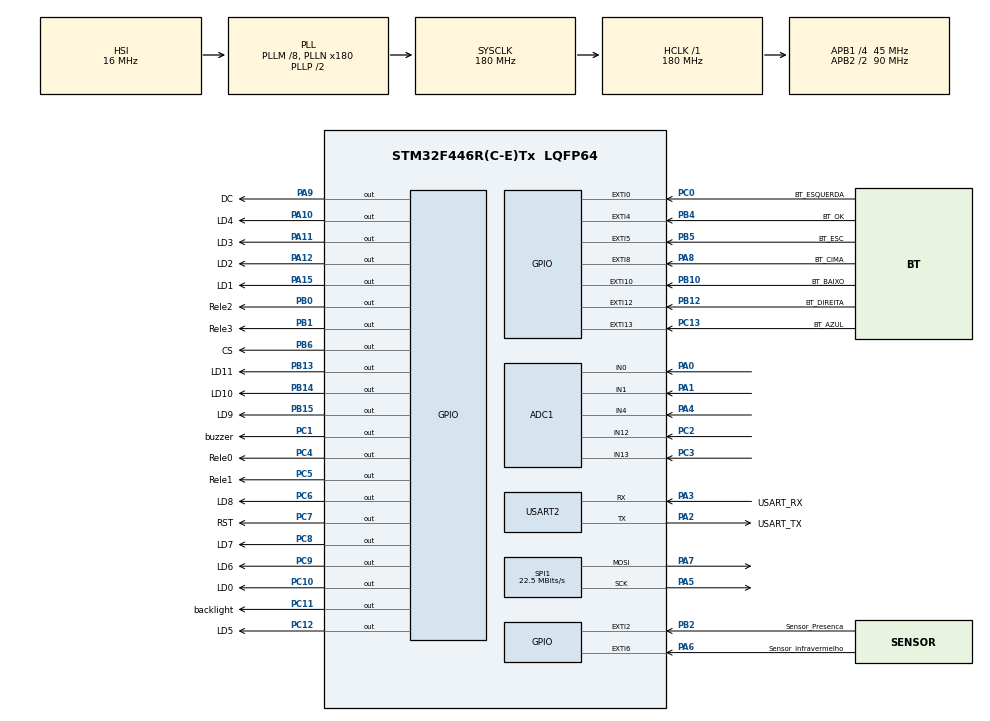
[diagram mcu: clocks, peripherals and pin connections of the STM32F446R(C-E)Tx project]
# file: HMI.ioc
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ADC1.Channel-0\#ChannelRegularConversion=ADC_CHANNEL_0
ADC1.Channel-1\#ChannelRegularConversion=ADC_CHANNEL_1
ADC1.Channel-2\#ChannelRegularConversion=ADC_CHANNEL_4
ADC1.Channel-3\#ChannelRegularConversion=ADC_CHANNEL_12
ADC1.Channel-4\#ChannelRegularConversion=ADC_CHANNEL_13
ADC1.ContinuousConvMode=ENABLE
ADC1.DMAContinuousRequests=ENABLE
ADC1.NbrOfConversion=5
ADC1.NbrOfConversionFlag=1
ADC1.Rank-0\#ChannelRegularConversion=1
ADC1.Rank-1\#ChannelRegularConversion=2
ADC1.Rank-2\#ChannelRegularConversion=3
ADC1.Rank-3\#ChannelRegularConversion=4
ADC1.Rank-4\#ChannelRegularConversion=5
ADC1.SamplingTime-0\#ChannelRegularConversion=ADC_SAMPLETIME_480CYCLES
ADC1.SamplingTime-1\#ChannelRegularConversion=ADC_SAMPLETIME_480CYCLES
ADC1.SamplingTime-2\#ChannelRegularConversion=ADC_SAMPLETIME_480CYCLES
ADC1.SamplingTime-3\#ChannelRegularConversion=ADC_SAMPLETIME_480CYCLES
ADC1.SamplingTime-4\#ChannelRegularConversion=ADC_SAMPLETIME_480CYCLES
ADC1.master=1
Dma.ADC1.1.Direction=DMA_PERIPH_TO_MEMORY
Dma.ADC1.1.FIFOMode=DMA_FIFOMODE_DISABLE
Dma.ADC1.1.Instance=DMA2_Stream0
Dma.ADC1.1.MemDataAlignment=DMA_MDATAALIGN_HALFWORD
Dma.ADC1.1.MemInc=DMA_MINC_ENABLE
Dma.ADC1.1.Mode=DMA_CIRCULAR
Dma.ADC1.1.PeriphDataAlignment=DMA_PDATAALIGN_HALFWORD
Dma.ADC1.1.PeriphInc=DMA_PINC_DISABLE
Dma.ADC1.1.Priority=DMA_PRIORITY_LOW
Dma.Request0=SPI1_TX
Dma.Request1=ADC1
Dma.SPI1_TX.0.Direction=DMA_MEMORY_TO_PERIPH
Dma.SPI1_TX.0.FIFOMode=DMA_FIFOMODE_DISABLE
Dma.SPI1_TX.0.Instance=DMA2_Stream3
Dma.SPI1_TX.0.MemDataAlignment=DMA_MDATAALIGN_BYTE
Dma.SPI1_TX.0.MemInc=DMA_MINC_ENABLE
Dma.SPI1_TX.0.Mode=DMA_NORMAL
Dma.SPI1_TX.0.PeriphDataAlignment=DMA_PDATAALIGN_BYTE
Dma.SPI1_TX.0.PeriphInc=DMA_PINC_DISABLE
Dma.SPI1_TX.0.Priority=DMA_PRIORITY_LOW
FREERTOS.BinarySemaphores01=buttonSemph,Static,buttonSemphControlBlock
FREERTOS.Mutexes01=display_mutex,Static,display_mutexControlBlock;sensor_mutex,Static,sensor_mutexControlBlock
FREERTOS.Queues01=buttons_queue,20,uint8_t,0,Static,queue_buttonsBuffer,queue_buttonsControlBlock;sensors_queue,20,Sensors_Val,0,Static,sensors_queueBuffer,sensors_queueControlBlock
FREERTOS.Tasks01=defaultTask,24,128,StartDefaultTask,Default,NULL,Dynamic,NULL,NULL;Display_TASK_,25,8128,Display_TASK,As weak,NULL,Static,Display_TASK_Buffer,Display_TASK_ControlBlock;Button_TASK_,26,2048,Button_TASK,As weak,NULL,Static,Button_TASK_Buffer,Button_TASK_ControlBlock;sensor_task_,23,512,sensor_task,As weak,NULL,Static,sensor_task_Buffer,sensor_task_ControlBlock;AlarmsTask_,8,512,AlarmsTask,As weak,NULL,Static,AlarmsTask_Buffer,AlarmsTask_ControlBlock
FREERTOS.Timers01=buzzerTimer,buzzerTimer_calbk,osTimerOnce,As weak,NULL,Static,buzzerTimerControlBlock
FREERTOS.configUSE_NEWLIB_REENTRANT=1
Mcu.Family=STM32F4
Mcu.Name=STM32F446R(C-E)Tx
Mcu.Package=LQFP64
NVIC.DMA2_Stream0_IRQn=true\:5\:0\:false\:false\:true\:true\:false\:true\:true
NVIC.DMA2_Stream3_IRQn=true\:5\:0\:false\:false\:true\:true\:false\:true\:true
NVIC.EXTI0_IRQn=true\:5\:0\:false\:false\:true\:true\:true\:true\:true
NVIC.EXTI15_10_IRQn=true\:5\:0\:false\:false\:true\:true\:true\:true\:true
NVIC.EXTI2_IRQn=true\:5\:0\:false\:false\:true\:true\:true\:true\:true
NVIC.EXTI4_IRQn=true\:5\:0\:false\:false\:true\:false\:true\:true\:true
NVIC.EXTI9_5_IRQn=true\:5\:0\:false\:false\:true\:false\:true\:true\:true
NVIC.PriorityGroup=NVIC_PRIORITYGROUP_4
NVIC.TIM1_UP_TIM10_IRQn=true\:15\:0\:false\:false\:true\:false\:false\:true\:true
NVIC.TIM2_IRQn=true\:5\:0\:false\:false\:true\:true\:true\:true\:true
NVIC.TIM3_IRQn=true\:5\:0\:false\:false\:true\:true\:true\:true\:true
NVIC.TIM4_IRQn=true\:5\:0\:false\:false\:true\:true\:true\:true\:true
NVIC.TIM5_IRQn=true\:5\:0\:false\:false\:true\:true\:true\:true\:true
NVIC.TIM8_BRK_TIM12_IRQn=true\:5\:0\:false\:false\:true\:true\:true\:true\:true
NVIC.TIM8_TRG_COM_TIM14_IRQn=true\:5\:0\:false\:false\:true\:true\:true\:true\:true
NVIC.TIM8_UP_TIM13_IRQn=true\:5\:0\:false\:false\:true\:true\:true\:true\:true
NVIC.TimeBase=TIM1_UP_TIM10_IRQn
NVIC.TimeBaseIP=TIM1
NVIC.USART2_IRQn=true\:5\:0\:false\:false\:true\:true\:true\:true\:true
PA0-WKUP.Signal=ADCx_IN0
PA1.Signal=ADCx_IN1
PA10.GPIO_Label=LD4
PA10.Signal=GPIO_Output
PA11.GPIO_Label=LD3
PA11.Signal=GPIO_Output
PA12.GPIO_Label=LD2
PA12.Signal=GPIO_Output
PA13.GPIO_Label=TMS
PA13.Mode=Serial_Wire
PA13.Signal=SYS_JTMS-SWDIO
PA14.GPIO_Label=TCK
PA14.Mode=Serial_Wire
PA14.Signal=SYS_JTCK-SWCLK
PA15.GPIO_Label=LD1
PA15.Signal=GPIO_Output
PA2.GPIO_Label=USART_TX
PA2.Mode=Asynchronous
PA2.Signal=USART2_TX
PA3.GPIO_Label=USART_RX
PA3.Mode=Asynchronous
PA3.Signal=USART2_RX
PA4.Signal=ADCx_IN4
PA5.Mode=TX_Only_Simplex_Unidirect_Master
PA5.Signal=SPI1_SCK
PA6.GPIO_Label=Sensor_infravermelho
PA6.GPIO_ModeDefaultEXTI=GPIO_MODE_IT_FALLING
PA6.Signal=GPXTI6
PA7.Mode=TX_Only_Simplex_Unidirect_Master
PA7.Signal=SPI1_MOSI
PA8.GPIO_Label=BT_CIMA
PA8.Signal=GPXTI8
PA9.GPIO_Label=DC
PA9.Signal=GPIO_Output
PB0.GPIO_Label=Rele2
PB0.GPIO_PuPd=GPIO_NOPULL
PB0.Signal=GPIO_Output
PB1.GPIO_Label=Rele3
PB1.GPIO_PuPd=GPIO_NOPULL
PB1.Signal=GPIO_Output
PB10.GPIO_Label=BT_BAIXO
PB10.Signal=GPXTI10
PB12.GPIO_Label=BT_DIREITA
PB12.Signal=GPXTI12
PB13.GPIO_Label=LD11
PB13.Signal=GPIO_Output
PB14.GPIO_Label=LD10
PB14.Signal=GPIO_Output
PB15.GPIO_Label=LD9
PB15.Signal=GPIO_Output
PB2.GPIO_Label=Sensor_Presenca
PB2.GPIO_ModeDefaultEXTI=GPIO_MODE_IT_RISING_FALLING
PB2.Signal=GPXTI2
PB3.GPIO_Label=SWO
PB3.Signal=SYS_JTDO-SWO
PB4.GPIO_Label=BT_OK
PB4.Signal=GPXTI4
PB5.GPIO_Label=BT_ESC
PB5.Signal=GPXTI5
PB6.GPIO_Label=CS
PB6.Signal=GPIO_Output
PC0.GPIO_Label=BT_ESQUERDA
PC0.Signal=GPXTI0
PC1.GPIO_Label=buzzer
PC1.Signal=GPIO_Output
PC10.GPIO_Label=LD0
PC10.Signal=GPIO_Output
PC11.GPIO_Label=backlight
PC11.Signal=GPIO_Output
PC12.GPIO_Label=LD5
PC12.Signal=GPIO_Output
PC13.GPIO_Label=BT_AZUL
PC13.GPIO_ModeDefaultEXTI=GPIO_MODE_IT_FALLING
PC13.Signal=GPXTI13
PC14-OSC32_IN.Mode=LSE-External-Oscillator
PC14-OSC32_IN.Signal=RCC_OSC32_IN
PC15-OSC32_OUT.Mode=LSE-External-Oscillator
PC15-OSC32_OUT.Signal=RCC_OSC32_OUT
PC2.Signal=ADCx_IN12
PC3.Signal=ADCx_IN13
PC4.GPIO_Label=Rele0
PC4.GPIO_PuPd=GPIO_NOPULL
PC4.Signal=GPIO_Output
PC5.GPIO_Label=Rele1
PC5.GPIO_PuPd=GPIO_NOPULL
PC5.Signal=GPIO_Output
PC6.GPIO_Label=LD8
PC6.Signal=GPIO_Output
PC7.GPIO_Label=RST
PC7.Signal=GPIO_Output
PC8.GPIO_Label=LD7
PC8.Signal=GPIO_Output
PC9.GPIO_Label=LD6
PC9.Signal=GPIO_Output
PH0-OSC_IN.Mode=HSE-External-Oscillator
PH0-OSC_IN.Signal=RCC_OSC_IN
PH1-OSC_OUT.Mode=HSE-External-Oscillator
PH1-OSC_OUT.Signal=RCC_OSC_OUT
ProjectManager.HeapSize=0x200
ProjectManager.StackSize=0x400
ProjectManager.TargetToolchain=STM32CubeIDE
RCC.48MHZClocksFreq_Value=84000000
RCC.AHBFreq_Value=180000000
RCC.APB1CLKDivider=RCC_HCLK_DIV4
RCC.APB1Freq_Value=45000000
RCC.APB1TimFreq_Value=90000000
RCC.APB2CLKDivider=RCC_HCLK_DIV2
RCC.APB2Freq_Value=90000000
RCC.APB2TimFreq_Value=180000000
RCC.CortexFreq_Value=180000000
RCC.FLatency-AdvancedSettings=FLASH_LATENCY_5
RCC.HCLKFreq_Value=180000000
RCC.HSE_VALUE=8000000
RCC.HSI_VALUE=16000000
RCC.PLLM=8
RCC.PLLN=180
RCC.SYSCLKFreq_VALUE=180000000
RCC.SYSCLKSource=RCC_SYSCLKSOURCE_PLLCLK
RCC.USBFreq_Value=180000000
RCC.VCOOutputFreq_Value=360000000
SH.ADCx_IN0.0=ADC1_IN0,IN0
SH.ADCx_IN1.0=ADC1_IN1,IN1
SH.ADCx_IN12.0=ADC1_IN12,IN12
SH.ADCx_IN13.0=ADC1_IN13,IN13
SH.ADCx_IN4.0=ADC1_IN4,IN4
SPI1.BaudRatePrescaler=SPI_BAUDRATEPRESCALER_4
SPI1.CalculateBaudRate=22.5 MBits/s
SPI1.Direction=SPI_DIRECTION_2LINES
SPI1.Mode=SPI_MODE_MASTER
SPI1.VirtualType=VM_MASTER
TIM2.Period=10000
TIM2.Prescaler=180-1
TIM3.Prescaler=180-1
TIM4.Period=40000
TIM4.Prescaler=180-1
TIM5.Period=10000
TIM5.Prescaler=1800-1
TIM8.Period=10000
TIM8.Prescaler=18000-1
USART2.VirtualMode=VM_ASYNC
VP_FREERTOS_VS_CMSIS_V2.Mode=CMSIS_V2
VP_SYS_VS_tim1.Mode=TIM1
VP_TIM2_VS_ClockSourceINT.Mode=Internal
VP_TIM3_VS_ClockSourceINT.Mode=Internal
VP_TIM4_VS_ClockSourceINT.Mode=Internal
VP_TIM5_VS_ClockSourceINT.Mode=Internal
VP_TIM8_VS_ClockSourceINT.Mode=Internal
board=NUCLEO-F446RE

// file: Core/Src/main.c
/* USER CODE BEGIN Header */
/**
  ******************************************************************************
  * @file           : main.c
  * @brief          : Main program body
  ******************************************************************************
  * @attention
  *
  * Copyright (c) 2024 STMicroelectronics.
  * All rights reserved.
  *
  * This software is licensed under terms that can be found in the LICENSE file
  * in the root directory of this software component.
  * If no LICENSE file comes with this software, it is provided AS-IS.
  *........................................
  ******************************************************************************
  */
/* USER CODE END Header */
#include "main.h"
#include "cmsis_os.h"
#include "adc.h"
#include "dma.h"
#include "spi.h"
#include "tim.h"
#include "usart.h"
#include "gpio.h"

/* USER CODE BEGIN Includes */
//#include "ili9341.h"
//#include "fonts.h"
//#include "testimg.h"
#include "ILI9341_STM32_Driver.h"
#include "ILI9341_GFX.h"
#include "snow_tiger.h"
//#include "stm32f4xx_hal.h"
#include "string.h"
#include "stdio.h"
#include "buttons.h"
#include "sensors.h"
#include "FreeRTOS.h"
#include "queue.h"
#include "time.h"

/* USER CODE END Includes */

/* USER CODE BEGIN PTD */
extern osMessageQueueId_t buttons_queueHandle;
extern osMessageQueueId_t sensors_queueHandle;
extern osMutexId_t sensor_mutexHandle;
extern osMutexId_t display_mutexHandle;
extern osTimerId_t buzzerTimerHandle;
/* USER CODE END PTD */

/* USER CODE BEGIN PD */
#define BUZZ_ON       HAL_GPIO_WritePin(buzzer_GPIO_Port, buzzer_Pin, GPIO_PIN_SET);
#define BUZZ_OFF      HAL_GPIO_WritePin(buzzer_GPIO_Port, buzzer_Pin, GPIO_PIN_RESET);
#define BUZZ_TOGGLE   HAL_GPIO_TogglePin(buzzer_GPIO_Port, buzzer_Pin);
/* USER CODE END PD */

/* USER CODE BEGIN PV */
uint16_t adcint[5] = {0};
uint32_t tempCode;
uint8_t bitIndex;
uint8_t cmd;
uint8_t cmdli;
uint32_t code;
Button button[MAX_BOTAO] = {0};
Navigation navigation = {0};
Sensors_Val sensorsVal = {0};
uint16_t uptime = 1;

Time currTime = {0};
uint64_t timeEpoch = 1727637780;
bool presenca = 1;
/* USER CODE END PV */

void SystemClock_Config(void);
void MX_FREERTOS_Init(void);

int main(void)
{

  /* MCU Configuration--------------------------------------------------------*/

  /* Reset of all peripherals, Initializes the Flash interface and the Systick. */
  HAL_Init();

  /* Configure the system clock */
  SystemClock_Config();

  /* Initialize all configured peripherals */
  MX_GPIO_Init();
  MX_DMA_Init();
  MX_USART2_UART_Init();
  MX_SPI1_Init();
  MX_TIM2_Init();
  MX_ADC1_Init();
  MX_TIM3_Init();
  MX_TIM4_Init();
  MX_TIM5_Init();
  MX_TIM8_Init();
  /* USER CODE BEGIN 2 */
  ILI9341_Init();
  init_buttons();
  dc_meas_init();
  HAL_ADC_Start_DMA(&hadc1, adcint, 5);

  HAL_TIM_Base_Start(&htim3);
  HAL_TIM_Base_Start_IT(&htim8);
   __HAL_TIM_SET_COUNTER(&htim3, 0);
   HAL_GPIO_WritePin(Rele0_GPIO_Port, Rele0_Pin, 1);
   HAL_GPIO_WritePin(Rele1_GPIO_Port, Rele1_Pin, 1);
   HAL_GPIO_WritePin(Rele2_GPIO_Port, Rele2_Pin, 1);
   HAL_GPIO_WritePin(Rele3_GPIO_Port, Rele3_Pin, 1);
  /* USER CODE END 2 */

  /* Init scheduler */
  osKernelInitialize();  /* Call init function for freertos objects (in freertos.c) */
  MX_FREERTOS_Init();

  /* Start scheduler */
  osKernelStart();

  /* We should never get here as control is now taken by the scheduler */
  /* Infinite loop */
  while (1)
  {

  }
}

void SystemClock_Config(void)
{
  RCC_OscInitTypeDef RCC_OscInitStruct = {0};
  RCC_ClkInitTypeDef RCC_ClkInitStruct = {0};

  /** Configure the main internal regulator output voltage
  */
  __HAL_RCC_PWR_CLK_ENABLE();
  __HAL_PWR_VOLTAGESCALING_CONFIG(PWR_REGULATOR_VOLTAGE_SCALE1);

  /** Initializes the RCC Oscillators according to the specified parameters
  * in the RCC_OscInitTypeDef structure.
  */
  RCC_OscInitStruct.OscillatorType = RCC_OSCILLATORTYPE_HSI;
  RCC_OscInitStruct.HSIState = RCC_HSI_ON;
  RCC_OscInitStruct.HSICalibrationValue = RCC_HSICALIBRATION_DEFAULT;
  RCC_OscInitStruct.PLL.PLLState = RCC_PLL_ON;
  RCC_OscInitStruct.PLL.PLLSource = RCC_PLLSOURCE_HSI;
  RCC_OscInitStruct.PLL.PLLM = 8;
  RCC_OscInitStruct.PLL.PLLN = 180;
  RCC_OscInitStruct.PLL.PLLP = RCC_PLLP_DIV2;
  RCC_OscInitStruct.PLL.PLLQ = 2;
  RCC_OscInitStruct.PLL.PLLR = 2;
  if (HAL_RCC_OscConfig(&RCC_OscInitStruct) != HAL_OK)
  {
    Error_Handler();
  }

  /** Activate the Over-Drive mode
  */
  if (HAL_PWREx_EnableOverDrive() != HAL_OK)
  {
    Error_Handler();
  }

  /** Initializes the CPU, AHB and APB buses clocks
  */
  RCC_ClkInitStruct.ClockType = RCC_CLOCKTYPE_HCLK|RCC_CLOCKTYPE_SYSCLK
                              |RCC_CLOCKTYPE_PCLK1|RCC_CLOCKTYPE_PCLK2;
  RCC_ClkInitStruct.SYSCLKSource = RCC_SYSCLKSOURCE_PLLCLK;
  RCC_ClkInitStruct.AHBCLKDivider = RCC_SYSCLK_DIV1;
  RCC_ClkInitStruct.APB1CLKDivider = RCC_HCLK_DIV4;
  RCC_ClkInitStruct.APB2CLKDivider = RCC_HCLK_DIV2;

  if (HAL_RCC_ClockConfig(&RCC_ClkInitStruct, FLASH_LATENCY_5) != HAL_OK)
  {
    Error_Handler();
  }
}

/* USER CODE BEGIN 4 */

void epochToDateTime(uint64_t epochTime, Time *time)
{
    time_t rawtime = epochTime;
    struct tm *timeinfo;
    timeinfo = localtime(&rawtime);
    time->year = timeinfo->tm_year + 1900;
    time->month = timeinfo->tm_mon + 1;
    time->day= timeinfo->tm_mday;
    time->hour = timeinfo->tm_hour-3;
    time->minute = timeinfo->tm_min;
    time->second = timeinfo->tm_sec;
}

void show_time(void)
{
	char BufferText[50];
	epochToDateTime(timeEpoch, &currTime);
	sprintf(BufferText, "%02d/%02d/%d  %02d:%02d:%02d",
			currTime.day, currTime.month, currTime.year,
			currTime.hour, currTime.minute, currTime.second);
	ILI9341_DrawText(BufferText, FONT4, 10, 10, BLACK, WHITE);
}

int main_screen (void *args)
{
	char BufferText[50];

	show_time();

	if (navigation.pos.line == 0)
	{
		sprintf(BufferText, "> Visualizacao");
		ILI9341_DrawText(BufferText, FONT4, 10, 30, BLACK, WHITE);
	}
	else
	{
		sprintf(BufferText, "  Visualizacao");
		ILI9341_DrawText(BufferText, FONT4, 10, 30, BLACK, WHITE);
	}

	if (navigation.pos.line == 1)
	{
		sprintf(BufferText, "> Comando");
		ILI9341_DrawText(BufferText, FONT4, 10, 50, BLACK, WHITE);
	}
	else
	{
		sprintf(BufferText, "  Comando");
		ILI9341_DrawText(BufferText, FONT4, 10, 50, BLACK, WHITE);
	}

	if (navigation.pos.line == 2)
	{
		sprintf(BufferText, "> Configuracao");
		ILI9341_DrawText(BufferText, FONT4, 10, 70, BLACK, WHITE);
	}
	else
	{
		sprintf(BufferText, "  Configuracao");
		ILI9341_DrawText(BufferText, FONT4, 10, 70, BLACK, WHITE);
	}

	if (navigation.pos.line == 3)
	{
		sprintf(BufferText, "> Informacao");
		ILI9341_DrawText(BufferText, FONT4, 10, 90, BLACK, WHITE);
	}
	else
	{
		sprintf(BufferText, "  Informacao");
		ILI9341_DrawText(BufferText, FONT4, 10, 90, BLACK, WHITE);
	}
}

int visualization_screen (void *args)
{
	char BufferText[50];

	show_time();

	osMutexAcquire (sensor_mutexHandle, osWaitForever);
	for (int i = 0; i < 5; i++)
	{
		if (i == navigation.pos.line)
		{
			sprintf(BufferText, "> Sensor %d : %d,%d C       ", i, sensorsVal.adcVal[i] / 10, sensorsVal.adcVal[i] % 10);
		}
		else
		{
			sprintf(BufferText, "  Sensor %d : %d,%d C        ", i, sensorsVal.adcVal[i] / 10, sensorsVal.adcVal[i] % 10);
		}
		if ((sensorsVal.adcVal[i] / 10 )< navigation.screens[CONFIG_SCREEN].params[i])
			ILI9341_DrawText(BufferText, FONT4, 10, 30 + (i * 20), BLACK, WHITE);
		else
			ILI9341_DrawText(BufferText, FONT4, 10, 30 + (i * 20), BLUE, WHITE);
	}
	osMutexRelease (sensor_mutexHandle);
}

int command_screen (void *args)
{
	char BufferText[50];
	char* releStatus[2] = { " : Ligado   ", " : Desligado "};
	bool state[4] = {0};

	show_time();

	state[0] = HAL_GPIO_ReadPin(Rele0_GPIO_Port, Rele0_Pin);
	state[1] = HAL_GPIO_ReadPin(Rele1_GPIO_Port, Rele1_Pin);
	state[2] = HAL_GPIO_ReadPin(Rele2_GPIO_Port, Rele2_Pin);
	state[3] = HAL_GPIO_ReadPin(Rele3_GPIO_Port, Rele3_Pin);
	for (int i = 0; i < 4; i++)
	{
	    if (navigation.pos.line == i)
		{

			sprintf(BufferText, "> RELE %d%s", i, releStatus[state[i]]);
		}
		else
		{

			sprintf(BufferText, "  RELE %d%s", i, releStatus[state[i]]);
		}
	    ILI9341_DrawText(BufferText, FONT4, 10, 30 + i * 20, BLACK, WHITE);
	}
}
int configuration_screen (void *args)
{
	char BufferText[50];
	show_time();
	if (navigation.pos.line == 0)
	{
		sprintf(BufferText, "> Sensor 0 = %d", navigation.screens[navigation.actualScreen].params[0]);
		ILI9341_DrawText(BufferText, FONT4, 10, 30, BLACK, WHITE);
	}
	else
	{
		sprintf(BufferText, "  Sensor 0 = %d", navigation.screens[navigation.actualScreen].params[0]);
		ILI9341_DrawText(BufferText, FONT4, 10, 30, BLACK, WHITE);
	}

	if (navigation.pos.line == 1)
	{
		sprintf(BufferText, "> Sensor 1 = %d", navigation.screens[navigation.actualScreen].params[1]);
		ILI9341_DrawText(BufferText, FONT4, 10, 50, BLACK, WHITE);
	}
	else
	{
		sprintf(BufferText, "  Sensor 1 = %d", navigation.screens[navigation.actualScreen].params[1]);
		ILI9341_DrawText(BufferText, FONT4, 10, 50, BLACK, WHITE);
	}

	if (navigation.pos.line == 2)
	{
		sprintf(BufferText, "> Sensor 2 = %d", navigation.screens[navigation.actualScreen].params[2]);
		ILI9341_DrawText(BufferText, FONT4, 10, 70, BLACK, WHITE);
	}
	else
	{
		sprintf(BufferText, "  Sensor 2 = %d", navigation.screens[navigation.actualScreen].params[2]);
		ILI9341_DrawText(BufferText, FONT4, 10, 70, BLACK, WHITE);
	}

	if (navigation.pos.line == 3)
	{
		sprintf(BufferText, "> Sensor 3 = %d", navigation.screens[navigation.actualScreen].params[3]);
		ILI9341_DrawText(BufferText, FONT4, 10, 90, BLACK, WHITE);
	}
	else
	{
		sprintf(BufferText, "  Sensor 3 = %d", navigation.screens[navigation.actualScreen].params[3]);
		ILI9341_DrawText(BufferText, FONT4, 10, 90, BLACK, WHITE);
	}

	if (navigation.pos.line == 4)
	{
		sprintf(BufferText, "> Sensor 4 = %d", navigation.screens[navigation.actualScreen].params[4]);
		ILI9341_DrawText(BufferText, FONT4, 10, 110, BLACK, WHITE);
	}
	else
	{
		sprintf(BufferText, "  Sensor 4 = %d", navigation.screens[navigation.actualScreen].params[4]);
		ILI9341_DrawText(BufferText, FONT4, 10, 110, BLACK, WHITE);
	}

}
int information_screen (void *args)
{
	char BufferText[50];
	show_time();

	if (navigation.pos.line == 0)
	{
		sprintf(BufferText, "> Versao : 1.2.1");
		ILI9341_DrawText(BufferText, FONT4, 10, 30, BLACK, WHITE);
	}
	else
	{
		sprintf(BufferText, "  Versao : 1.2.1");
		ILI9341_DrawText(BufferText, FONT4, 10, 30, BLACK, WHITE);
	}

	if (navigation.pos.line == 1)
	{
		sprintf(BufferText, "> Uptime : %02d : %02d : %02d", uptime / 3600, (uptime % 3600) / 60 , uptime % 60);
		ILI9341_DrawText(BufferText, FONT4, 10, 50, BLACK, WHITE);
	}
	else
	{
		sprintf(BufferText, "  Uptime : %02d : %02d : %02d", uptime / 3600, (uptime % 3600) / 60 , uptime % 60);
		ILI9341_DrawText(BufferText, FONT4, 10, 50, BLACK, WHITE);
	}
}

static void config_screen(uint16_t screenNum, int (*func_pointer)(void *args), uint8_t *redirect, bool habEdit, uint8_t lines_max)
{
	navigation.screens[screenNum].callback = func_pointer;
	navigation.screens[screenNum].habEdicao = habEdit;

	show_time();

	if (redirect[0] != 0)
	{
		for (int i = 0; i < 4; i++)
		{
			navigation.screens[screenNum].menuToRedirect[i] = redirect[i];
		}
	}
	else
	{
		for (int i = 0; i < 4; i++)
		{
			navigation.screens[screenNum].menuToRedirect[i] = 0;
		}
	}

	if (habEdit)
	{
		navigation.screens[screenNum].params[0] = 28;
		navigation.screens[screenNum].params[1] = 28;
		navigation.screens[screenNum].params[2] = 28;
		navigation.screens[screenNum].params[3] = 50;
		navigation.screens[screenNum].params[4] = 70;
	}

	navigation.screens[screenNum].linesMax = lines_max - 1;
}

void init_screens(void)
{
	uint8_t main_redirect[4] = {VISUALIZATION_SCREEN, COMMAND_SCREEN, CONFIG_SCREEN, INFORMATION_SCREEN};

	config_screen(MAIN_SCREEN, main_screen, main_redirect, false, 4);
	config_screen(VISUALIZATION_SCREEN, visualization_screen, NULL,false, 5);
	config_screen(COMMAND_SCREEN, command_screen, NULL,false,4);
	config_screen(CONFIG_SCREEN, configuration_screen, NULL,true,5);
	config_screen(INFORMATION_SCREEN, information_screen, NULL,false,2);

	navigation.screens[navigation.actualScreen].callback(&navigation);
}

void led_set (uint8_t ledNum, bool state)
{
	switch (ledNum)
	{
		case LED0:
			HAL_GPIO_WritePin(LD0_GPIO_Port, LD0_Pin, state);
			break;
		case LED1:
			HAL_GPIO_WritePin(LD1_GPIO_Port, LD1_Pin, state);
			break;
		case LED2:
			HAL_GPIO_WritePin(LD2_GPIO_Port, LD2_Pin, state);
			break;
		case LED3:
			HAL_GPIO_WritePin(LD3_GPIO_Port, LD3_Pin, state);
			break;
		case LED4:
			HAL_GPIO_WritePin(LD4_GPIO_Port, LD4_Pin, state);
			break;
		case LED5:
			HAL_GPIO_WritePin(LD5_GPIO_Port, LD5_Pin, state);
			break;
		case LED6:
			HAL_GPIO_WritePin(LD6_GPIO_Port, LD6_Pin, state);
			break;
		case LED7:
			HAL_GPIO_WritePin(LD7_GPIO_Port, LD7_Pin, state);
			break;
		case LED8:
			HAL_GPIO_WritePin(LD8_GPIO_Port, LD8_Pin, state);
			break;
		case LED9:
			HAL_GPIO_WritePin(LD9_GPIO_Port, LD9_Pin, state);
			break;
		case LED10:
			HAL_GPIO_WritePin(LD10_GPIO_Port, LD10_Pin, state);
			break;
		case LED11:
			HAL_GPIO_WritePin(LD11_GPIO_Port, LD11_Pin, state);
			break;
	}
}

uint8_t identify_code(uint32_t code)
{
	uint8_t button = 0xff;
	switch (code)
	{
		case CODE_CIMA:
			button = BOTAO_CIMA;
		case CODE_BAIXO:
			button = BOTAO_BAIXO;
		case CODE_DIREITA:
			button = BOTAO_DIREITA;
		case CODE_ESQUERDA:
			button = BOTAO_ESQUERDA;
		case CODE_OK:
			button = BOTAO_OK;
		case CODE_ESC:
			button = BOTAO_ESC;
			break;
		default:

			break;
	}
}

uint8_t buttonEntry = 0xff;
bool debouncing = 0;

void HAL_GPIO_EXTI_Callback(uint16_t GPIO_Pin)
{
	switch (GPIO_Pin)
	{
		case BT_AZUL_Pin:
			if (debouncing == 0)
				buttonEntry = BOTAO_AZUL;
			break;
		case BT_CIMA_Pin:
			if (debouncing == 0)
				buttonEntry = BOTAO_CIMA;
			break;
		case BT_BAIXO_Pin:
			if (debouncing == 0)
				buttonEntry = BOTAO_BAIXO;
			break;
		case BT_DIREITA_Pin:
			if (debouncing == 0)
				buttonEntry = BOTAO_DIREITA;
			break;
		case BT_ESQUERDA_Pin:
			if (debouncing == 0)
				buttonEntry = BOTAO_ESQUERDA;
			break;
		case BT_OK_Pin:
			if (debouncing == 0)
				buttonEntry = BOTAO_OK;
			break;
		case BT_ESC_Pin:
			if (debouncing == 0)
				buttonEntry = BOTAO_ESC;
			break;
		case Sensor_infravermelho_Pin:

			 if(GPIO_Pin == GPIO_PIN_11)
			  {
			    if (__HAL_TIM_GET_COUNTER(&htim3) > 8000)
			    {
			      tempCode = 0;
			      bitIndex = 0;
			    }
			    else if (__HAL_TIM_GET_COUNTER(&htim3) > 1700)
			    {
			      tempCode |= (1UL << (31-bitIndex));
			      bitIndex++;
			    }
			    else if (__HAL_TIM_GET_COUNTER(&htim3) > 1000)
			    {
			      tempCode &= ~(1UL << (31-bitIndex));
			      bitIndex++;
			    }
			    if(bitIndex == 32)
			    {
			      cmdli = ~tempCode;
			      cmd = tempCode >> 8;
			      if(cmdli == cmd)
			      {
			        code = tempCode;

			        buttonEntry = identify_code(code);
			      }
			    bitIndex = 0;
			    }
			  __HAL_TIM_SET_COUNTER(&htim3, 0);
			  }
			break;
		case Sensor_Presenca_Pin:
//			if (HAL_GPIO_ReadPin(Sensor_Presenca_GPIO_Port, Sensor_Presenca_Pin))
//				presenca = 1;
//			else
//				presenca = 0;
			break;
	}

	if (buttonEntry != 0xff)
	{
		debouncing = 1;
		__HAL_TIM_CLEAR_IT(&htim5, TIM_IT_UPDATE);
		HAL_TIM_Base_Start_IT(&htim5);
	}
}

void Display_TASK(void *argument)
{
	static char BufferText[40];
	ILI9341_FillScreen(WHITE);
	osDelay(500);
	ILI9341_SetRotation(SCREEN_VERTICAL_2);
	ILI9341_FillScreen(WHITE);
	HAL_TIM_Base_Start_IT(&htim2);
	init_screens();

  for(;;)
  {
	  if (HAL_GPIO_ReadPin(Sensor_Presenca_GPIO_Port, Sensor_Presenca_Pin))
	  {
		 HAL_GPIO_WritePin(backlight_GPIO_Port, backlight_Pin, 0);
	  }
	  else
	  {
		 HAL_GPIO_WritePin(backlight_GPIO_Port, backlight_Pin, 1);
		 osMutexAcquire (display_mutexHandle, osWaitForever);
		 navigation.screens[navigation.actualScreen].callback(&navigation);
		 osMutexRelease (display_mutexHandle);
	  }
     osDelay(500);
  }
}

int set_default_navigation_values(void)
{
  navigation.pos.page = PAGE_ZERO;
  navigation.pos.line = 0;
}

int callback_botao_esc (void *arguments)
{
	if (navigation.layerdepth == 0)
	{
		set_default_navigation_values();
		navigation.screens[navigation.actualScreen].callback(&navigation);
		return 0;
	}
	navigation.actualScreen = navigation.layers[--navigation.layerdepth];
	ILI9341_FillScreen(WHITE);
	set_default_navigation_values();
	navigation.screens[navigation.actualScreen].callback(&navigation);
}

int callback_botao_cima (void *arguments)
{
	if(navigation.pos.line == 0)
	{
		return 0;
	}
	navigation.pos.line--;
	navigation.screens[navigation.actualScreen].callback(&navigation);
}

int callback_botao_baixo (void *arguments)
{
	if(navigation.pos.line == navigation.screens[navigation.actualScreen].linesMax)
	{
		return 0;
	}
	navigation.pos.line++;
	navigation.screens[navigation.actualScreen].callback(&navigation);
}

int callback_botao_direita (void *arguments)
{
	if(!navigation.screens[navigation.actualScreen].habEdicao)
	{
		return 0;
	}

	if(navigation.screens[navigation.actualScreen].params[navigation.pos.line] >= 90)
	{
		return 0;
	}
	navigation.screens[navigation.actualScreen].params[navigation.pos.line]++;
	navigation.screens[navigation.actualScreen].callback(&navigation);

}

int callback_botao_esquerda (void *arguments)
{
	if(!navigation.screens[navigation.actualScreen].habEdicao)
	{
		return 0;
	}

	if(navigation.screens[navigation.actualScreen].params[navigation.pos.line] <= 15)
	{
		return 0;
	}

	navigation.screens[navigation.actualScreen].params[navigation.pos.line]--;
	navigation.screens[navigation.actualScreen].callback(&navigation);
}

int callback_botao_ok (void *arguments)
{
	if (navigation.actualScreen == COMMAND_SCREEN)
	{
		switch (navigation.pos.line)
		{
			case 0:
				if (HAL_GPIO_ReadPin(Rele0_GPIO_Port, Rele0_Pin))
					HAL_GPIO_WritePin(Rele0_GPIO_Port, Rele0_Pin, 0);
				else
					HAL_GPIO_WritePin(Rele0_GPIO_Port, Rele0_Pin, 1);
				break;
			case 1:
				if (HAL_GPIO_ReadPin(Rele1_GPIO_Port, Rele1_Pin))
					HAL_GPIO_WritePin(Rele1_GPIO_Port, Rele1_Pin, 0);
				else
					HAL_GPIO_WritePin(Rele1_GPIO_Port, Rele1_Pin, 1);
				break;
			case 2:
				if (HAL_GPIO_ReadPin(Rele2_GPIO_Port, Rele2_Pin))
					HAL_GPIO_WritePin(Rele2_GPIO_Port, Rele2_Pin, 0);
				else
					HAL_GPIO_WritePin(Rele2_GPIO_Port, Rele2_Pin, 1);
				break;
			case 3:
				if (HAL_GPIO_ReadPin(Rele3_GPIO_Port, Rele3_Pin))
					HAL_GPIO_WritePin(Rele3_GPIO_Port, Rele3_Pin, 0);
				else
					HAL_GPIO_WritePin(Rele3_GPIO_Port, Rele3_Pin, 1);
				break;
		}
		return 0;
	}
	if (navigation.screens[navigation.actualScreen].menuToRedirect[0])
	{
		navigation.actualScreen = navigation.screens[navigation.actualScreen].menuToRedirect[navigation.pos.line];
		navigation.layers[++navigation.layerdepth] = navigation.actualScreen;
		set_default_navigation_values();
		ILI9341_FillScreen(WHITE);
		navigation.screens[navigation.actualScreen].callback(&navigation);
	}
}

int callback_botao_azul (void *arguments)
{

}

void config_button (uint8_t buttonID, int (*funcPointer)(void *args))
{
	button[buttonID].callback = funcPointer;
}

void init_buttons(void)
{
	config_button(BOTAO_CIMA, callback_botao_cima);
	config_button(BOTAO_BAIXO, callback_botao_baixo);
	config_button(BOTAO_DIREITA, callback_botao_direita);
	config_button(BOTAO_ESQUERDA, callback_botao_esquerda);
	config_button(BOTAO_OK, callback_botao_ok);
	config_button(BOTAO_ESC, callback_botao_esc);
	config_button(BOTAO_AZUL, callback_botao_azul);
}

void button_buzzon(void)
{
	HAL_GPIO_WritePin(buzzer_GPIO_Port, buzzer_Pin, 1);
	__HAL_TIM_CLEAR_IT(&htim4, TIM_IT_UPDATE);
	HAL_TIM_Base_Start_IT(&htim4);
}

void Button_TASK(void *argument)
{
  uint8_t buttonID = 0;
  for(;;)
  {
	xQueueReceive(buttons_queueHandle, &buttonID, portMAX_DELAY);

	osMutexAcquire (display_mutexHandle, osWaitForever);

	button_buzzon();
	button[buttonID].callback(NULL);

	osMutexRelease (display_mutexHandle);
    osDelay(1);
  }
}

void sensor_task(void *argument)
{
  Sensors_Val sensors = {0};
  for(;;)
  {
	 if (xQueueReceive(sensors_queueHandle, &sensors, portMAX_DELAY))
	 {
		 osMutexAcquire (sensor_mutexHandle, osWaitForever);
		 memcpy(&sensorsVal, &sensors, sizeof(sensors));
		 osMutexRelease (sensor_mutexHandle);
	 }
    osDelay(1);
  }
}

void AlarmsTask(void *argument)
{
	Sensors_Val tempVal = {0};
	bool buzzerAlarm = 0;
  for(;;)
  {
	osMutexAcquire (sensor_mutexHandle, osWaitForever);
	memcpy(&tempVal, &sensorsVal, sizeof(Sensors_Val));
	osMutexRelease (sensor_mutexHandle);

	if((float)(tempVal.adcVal[0] / 10) < navigation.screens[CONFIG_SCREEN].params[0])
	{
		HAL_GPIO_WritePin(LD0_GPIO_Port, LD0_Pin, 1);
		HAL_GPIO_WritePin(LD1_GPIO_Port, LD1_Pin, 0);
	}
	else
	{
		HAL_GPIO_WritePin(LD1_GPIO_Port, LD1_Pin, 1);
		HAL_GPIO_WritePin(LD0_GPIO_Port, LD0_Pin, 0);
		buzzerAlarm = 1;
	}

	if((float)(tempVal.adcVal[1] / 10) < navigation.screens[CONFIG_SCREEN].params[1])
	{
		HAL_GPIO_WritePin(LD2_GPIO_Port, LD2_Pin, 1);
		HAL_GPIO_WritePin(LD3_GPIO_Port, LD3_Pin, 0);
	}
	else
	{
		HAL_GPIO_WritePin(LD3_GPIO_Port, LD3_Pin, 1);
		HAL_GPIO_WritePin(LD2_GPIO_Port, LD2_Pin, 0);
//		buzzerAlarm = 1;
	}

	if((float)(tempVal.adcVal[2] / 10) < navigation.screens[CONFIG_SCREEN].params[2])
	{
		HAL_GPIO_WritePin(LD4_GPIO_Port, LD4_Pin, 1);
		HAL_GPIO_WritePin(LD5_GPIO_Port, LD5_Pin, 0);
	}
	else
	{
		HAL_GPIO_WritePin(LD5_GPIO_Port, LD5_Pin, 1);
		HAL_GPIO_WritePin(LD4_GPIO_Port, LD4_Pin, 0);
//		buzzerAlarm = 1;
	}

	if((float)(tempVal.adcVal[3] / 10) < navigation.screens[CONFIG_SCREEN].params[3])
	{
		HAL_GPIO_WritePin(LD6_GPIO_Port, LD6_Pin, 1);
		HAL_GPIO_WritePin(LD7_GPIO_Port, LD7_Pin, 0);
	}
	else
	{
		HAL_GPIO_WritePin(LD7_GPIO_Port, LD7_Pin, 1);
		HAL_GPIO_WritePin(LD6_GPIO_Port, LD6_Pin, 0);
//		buzzerAlarm = 1;
	}

	if((float)(tempVal.adcVal[4] / 10) < navigation.screens[CONFIG_SCREEN].params[4])
	{
		HAL_GPIO_WritePin(LD8_GPIO_Port, LD8_Pin, 1);
		HAL_GPIO_WritePin(LD9_GPIO_Port, LD9_Pin, 0);
	}
	else
	{
		HAL_GPIO_WritePin(LD9_GPIO_Port, LD9_Pin, 1);
		HAL_GPIO_WritePin(LD8_GPIO_Port, LD8_Pin, 0);
//		buzzerAlarm = 1;
	}

	if (buzzerAlarm)
	{
		HAL_GPIO_WritePin(buzzer_GPIO_Port, buzzer_Pin, 1);
		osTimerStart(buzzerTimerHandle, 20);
		buzzerAlarm = 0;
	}
	osDelay(500);
  }
}

void buzzerTimer_calbk(void *argument)
{
	HAL_GPIO_WritePin(buzzer_GPIO_Port, buzzer_Pin, 0);
}

/* USER CODE END 4 */

void HAL_TIM_PeriodElapsedCallback(TIM_HandleTypeDef *htim)
{
  if (htim->Instance == TIM1) {
    HAL_IncTick();
  }
  /* USER CODE BEGIN Callback 1 */
  if (htim->Instance == TIM2)
  {
	  adc_update_sample();
  }
  if(htim->Instance == TIM4)
  {
	  __HAL_TIM_CLEAR_IT(&htim4, TIM_IT_UPDATE);
	  HAL_TIM_Base_Stop_IT(&htim4);
	  HAL_GPIO_WritePin(buzzer_GPIO_Port, buzzer_Pin, 0);
  }

  if(htim->Instance == TIM5)
  {
	  __HAL_TIM_CLEAR_IT(&htim5, TIM_IT_UPDATE);
	  HAL_TIM_Base_Stop_IT(&htim5);
	  xQueueSendToBackFromISR(buttons_queueHandle, &buttonEntry, 1);
	  buttonEntry = 0xff;
	  debouncing = 0;
  }

  if(htim->Instance == TIM8)
  {
	  timeEpoch++;
	  uptime++;
  }
  /* USER CODE END Callback 1 */
}

void Error_Handler(void)
{
  __disable_irq();
  while (1)
  {
  }
}

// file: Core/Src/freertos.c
/* USER CODE BEGIN Header */
/**
  ******************************************************************************
  * File Name          : freertos.c
  * Description        : Code for freertos applications
  ******************************************************************************
  * @attention
  *
  * Copyright (c) 2024 STMicroelectronics.
  * All rights reserved.
  *
  * This software is licensed under terms that can be found in the LICENSE file
  * in the root directory of this software component.
  * If no LICENSE file comes with this software, it is provided AS-IS.
  *
  ******************************************************************************
  */
/* USER CODE END Header */

#include "FreeRTOS.h"
#include "task.h"
#include "main.h"
#include "cmsis_os.h"

/* USER CODE BEGIN Includes */
#include "sensors.h"
/* USER CODE END Includes */

typedef StaticTask_t osStaticThreadDef_t;
typedef StaticQueue_t osStaticMessageQDef_t;
typedef StaticTimer_t osStaticTimerDef_t;
typedef StaticSemaphore_t osStaticMutexDef_t;
typedef StaticSemaphore_t osStaticSemaphoreDef_t;

/* Definitions for defaultTask */
osThreadId_t defaultTaskHandle;
const osThreadAttr_t defaultTask_attributes = {
  .name = "defaultTask",
  .stack_size = 128 * 4,
  .priority = (osPriority_t) osPriorityNormal,
};
/* Definitions for Display_TASK_ */
osThreadId_t Display_TASK_Handle;
uint32_t Display_TASK_Buffer[ 8128 ];
osStaticThreadDef_t Display_TASK_ControlBlock;
const osThreadAttr_t Display_TASK__attributes = {
  .name = "Display_TASK_",
  .cb_mem = &Display_TASK_ControlBlock,
  .cb_size = sizeof(Display_TASK_ControlBlock),
  .stack_mem = &Display_TASK_Buffer[0],
  .stack_size = sizeof(Display_TASK_Buffer),
  .priority = (osPriority_t) osPriorityNormal1,
};
/* Definitions for Button_TASK_ */
osThreadId_t Button_TASK_Handle;
uint32_t Button_TASK_Buffer[ 2048 ];
osStaticThreadDef_t Button_TASK_ControlBlock;
const osThreadAttr_t Button_TASK__attributes = {
  .name = "Button_TASK_",
  .cb_mem = &Button_TASK_ControlBlock,
  .cb_size = sizeof(Button_TASK_ControlBlock),
  .stack_mem = &Button_TASK_Buffer[0],
  .stack_size = sizeof(Button_TASK_Buffer),
  .priority = (osPriority_t) osPriorityNormal2,
};
/* Definitions for sensor_task_ */
osThreadId_t sensor_task_Handle;
uint32_t sensor_task_Buffer[ 512 ];
osStaticThreadDef_t sensor_task_ControlBlock;
const osThreadAttr_t sensor_task__attributes = {
  .name = "sensor_task_",
  .cb_mem = &sensor_task_ControlBlock,
  .cb_size = sizeof(sensor_task_ControlBlock),
  .stack_mem = &sensor_task_Buffer[0],
  .stack_size = sizeof(sensor_task_Buffer),
  .priority = (osPriority_t) osPriorityBelowNormal7,
};
/* Definitions for AlarmsTask_ */
osThreadId_t AlarmsTask_Handle;
uint32_t AlarmsTask_Buffer[ 512 ];
osStaticThreadDef_t AlarmsTask_ControlBlock;
const osThreadAttr_t AlarmsTask__attributes = {
  .name = "AlarmsTask_",
  .cb_mem = &AlarmsTask_ControlBlock,
  .cb_size = sizeof(AlarmsTask_ControlBlock),
  .stack_mem = &AlarmsTask_Buffer[0],
  .stack_size = sizeof(AlarmsTask_Buffer),
  .priority = (osPriority_t) osPriorityLow,
};
/* Definitions for buttons_queue */
osMessageQueueId_t buttons_queueHandle;
uint8_t queue_buttonsBuffer[ 20 * sizeof( uint8_t ) ];
osStaticMessageQDef_t queue_buttonsControlBlock;
const osMessageQueueAttr_t buttons_queue_attributes = {
  .name = "buttons_queue",
  .cb_mem = &queue_buttonsControlBlock,
  .cb_size = sizeof(queue_buttonsControlBlock),
  .mq_mem = &queue_buttonsBuffer,
  .mq_size = sizeof(queue_buttonsBuffer)
};
/* Definitions for sensors_queue */
osMessageQueueId_t sensors_queueHandle;
uint8_t sensors_queueBuffer[ 20 * sizeof( Sensors_Val ) ];
osStaticMessageQDef_t sensors_queueControlBlock;
const osMessageQueueAttr_t sensors_queue_attributes = {
  .name = "sensors_queue",
  .cb_mem = &sensors_queueControlBlock,
  .cb_size = sizeof(sensors_queueControlBlock),
  .mq_mem = &sensors_queueBuffer,
  .mq_size = sizeof(sensors_queueBuffer)
};
/* Definitions for buzzerTimer */
osTimerId_t buzzerTimerHandle;
osStaticTimerDef_t buzzerTimerControlBlock;
const osTimerAttr_t buzzerTimer_attributes = {
  .name = "buzzerTimer",
  .cb_mem = &buzzerTimerControlBlock,
  .cb_size = sizeof(buzzerTimerControlBlock),
};
/* Definitions for display_mutex */
osMutexId_t display_mutexHandle;
osStaticMutexDef_t display_mutexControlBlock;
const osMutexAttr_t display_mutex_attributes = {
  .name = "display_mutex",
  .cb_mem = &display_mutexControlBlock,
  .cb_size = sizeof(display_mutexControlBlock),
};
/* Definitions for sensor_mutex */
osMutexId_t sensor_mutexHandle;
osStaticMutexDef_t sensor_mutexControlBlock;
const osMutexAttr_t sensor_mutex_attributes = {
  .name = "sensor_mutex",
  .cb_mem = &sensor_mutexControlBlock,
  .cb_size = sizeof(sensor_mutexControlBlock),
};
/* Definitions for buttonSemph */
osSemaphoreId_t buttonSemphHandle;
osStaticSemaphoreDef_t buttonSemphControlBlock;
const osSemaphoreAttr_t buttonSemph_attributes = {
  .name = "buttonSemph",
  .cb_mem = &buttonSemphControlBlock,
  .cb_size = sizeof(buttonSemphControlBlock),
};

void StartDefaultTask(void *argument);
void Display_TASK(void *argument);
void Button_TASK(void *argument);
void sensor_task(void *argument);
void AlarmsTask(void *argument);
void buzzerTimer_calbk(void *argument);

void MX_FREERTOS_Init(void); /* (MISRA C 2004 rule 8.1) */

void MX_FREERTOS_Init(void) {
  /* Create the mutex(es) */
  /* creation of display_mutex */
  display_mutexHandle = osMutexNew(&display_mutex_attributes);

  /* creation of sensor_mutex */
  sensor_mutexHandle = osMutexNew(&sensor_mutex_attributes);

  /* Create the semaphores(s) */
  /* creation of buttonSemph */
  buttonSemphHandle = osSemaphoreNew(1, 1, &buttonSemph_attributes);

  /* Create the timer(s) */
  /* creation of buzzerTimer */
  buzzerTimerHandle = osTimerNew(buzzerTimer_calbk, osTimerOnce, NULL, &buzzerTimer_attributes);

  /* Create the queue(s) */
  /* creation of buttons_queue */
  buttons_queueHandle = osMessageQueueNew (20, sizeof(uint8_t), &buttons_queue_attributes);

  /* creation of sensors_queue */
  sensors_queueHandle = osMessageQueueNew (20, sizeof(Sensors_Val), &sensors_queue_attributes);

  /* Create the thread(s) */
  /* creation of defaultTask */
  defaultTaskHandle = osThreadNew(StartDefaultTask, NULL, &defaultTask_attributes);

  /* creation of Display_TASK_ */
  Display_TASK_Handle = osThreadNew(Display_TASK, NULL, &Display_TASK__attributes);

  /* creation of Button_TASK_ */
  Button_TASK_Handle = osThreadNew(Button_TASK, NULL, &Button_TASK__attributes);

  /* creation of sensor_task_ */
  sensor_task_Handle = osThreadNew(sensor_task, NULL, &sensor_task__attributes);

  /* creation of AlarmsTask_ */
  AlarmsTask_Handle = osThreadNew(AlarmsTask, NULL, &AlarmsTask__attributes);

}

void StartDefaultTask(void *argument)
{
  for(;;)
  {
    osDelay(1);
  }
}

__weak void Display_TASK(void *argument)
{
  for(;;)
  {
    osDelay(1);
  }
}

__weak void Button_TASK(void *argument)
{
  for(;;)
  {
    osDelay(1);
  }
}

__weak void sensor_task(void *argument)
{
  for(;;)
  {
    osDelay(1);
  }
}

__weak void AlarmsTask(void *argument)
{
  for(;;)
  {
    osDelay(1);
  }
}

/* buzzerTimer_calbk function */
__weak void buzzerTimer_calbk(void *argument)
{
}
